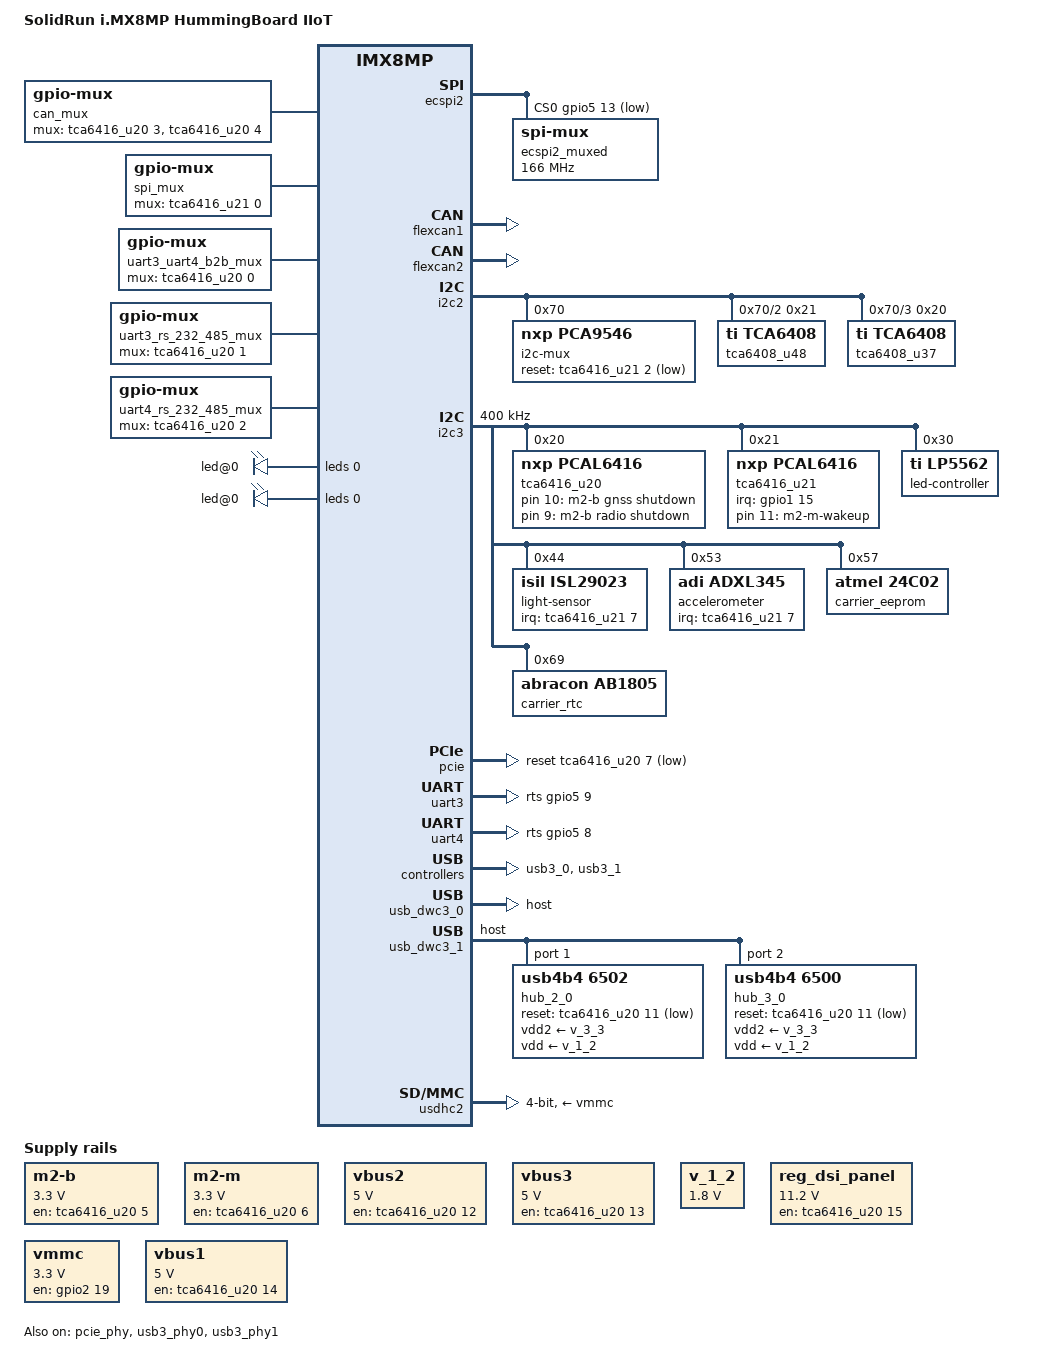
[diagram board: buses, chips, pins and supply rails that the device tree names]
// SPDX-License-Identifier: (GPL-2.0+ OR MIT)
/*
 * Copyright 2024 Yazan Shhady <yazan.shhady@solid-run.com>
 * Copyright 2025 Josua Mayer <josua@solid-run.com>
 */

/dts-v1/;

#include <dt-bindings/leds/common.h>
#include <dt-bindings/phy/phy-imx8-pcie.h>

#include "imx8mp-sr-som.dtsi"

/ {
	compatible = "solidrun,imx8mp-hummingboard-iiot",
		     "solidrun,imx8mp-sr-som", "fsl,imx8mp";
	model = "SolidRun i.MX8MP HummingBoard IIoT";

	/* power for M.2 B-Key connector (J6) */
	regulator-m2-b {
		compatible = "regulator-fixed";
		regulator-name = "m2-b";
		gpios = <&tca6416_u20 5 GPIO_ACTIVE_HIGH>;
		regulator-always-on;
		regulator-max-microvolt = <3300000>;
		regulator-min-microvolt = <3300000>;
		enable-active-high;
	};

	/* power for M.2 M-Key connector (J4) */
	regulator-m2-m {
		compatible = "regulator-fixed";
		regulator-name = "m2-m";
		gpios = <&tca6416_u20 6 GPIO_ACTIVE_HIGH>;
		regulator-always-on;
		regulator-max-microvolt = <3300000>;
		regulator-min-microvolt = <3300000>;
		enable-active-high;
	};

	/* power for USB-A J27 behind USB Hub Port 3 */
	regulator-vbus-2 {
		compatible = "regulator-fixed";
		regulator-name = "vbus2";
		regulator-always-on;
		regulator-max-microvolt = <5000000>;
		regulator-min-microvolt = <5000000>;
		gpio = <&tca6416_u20 12 GPIO_ACTIVE_HIGH>;
		enable-active-high;
	};

	/* power for USB-A J27 behind USB Hub Port 4 */
	regulator-vbus-3 {
		compatible = "regulator-fixed";
		regulator-name = "vbus3";
		regulator-always-on;
		regulator-max-microvolt = <5000000>;
		regulator-min-microvolt = <5000000>;
		gpio = <&tca6416_u20 13 GPIO_ACTIVE_HIGH>;
		enable-active-high;
	};

	aliases {
		/* J10 */
		ethernet0 = &eqos;
		/* J11 */
		ethernet1 = &fec;
		gpio5 = &tca6408_u48;
		gpio6 = &tca6408_u37;
		gpio7 = &tca6416_u20;
		gpio8 = &tca6416_u21;
		i2c6 = &i2c_exp;
		i2c7 = &i2c_csi;
		i2c8 = &i2c_dsi;
		i2c9 = &i2c_lvds;
		rtc0 = &carrier_rtc;
		rtc1 = &snvs_rtc;
	};

	gpio-keys {
		compatible = "gpio-keys";

		wakeup-event {
			interrupts-extended = <&tca6416_u21 11 IRQ_TYPE_EDGE_FALLING>;
			label = "m2-m-wakeup";
			wakeup-source;
			linux,code = <KEY_WAKEUP>;
		};
	};

	can_mux: mux-controller-0 {
		compatible = "gpio-mux";
		/*
		 * Mux routes CAN bus signals between SoM connector pins,
		 * expansion connector (J22) and on-board transceivers using
		 * two GPIO:
		 * - IO3: 0 = on-board transceivers, 1 = expansion connector
		 * - IO4: 0 = J9-55/57/59/61, 1 = J7-12/16 & J9-54/56
		 */
		mux-gpios = <&tca6416_u20 3 GPIO_ACTIVE_HIGH>,
			    <&tca6416_u20 4 GPIO_ACTIVE_HIGH>;
		/* default J7-12/16 & J9-54/56 to on-board transceivers */
		idle-state = <2>;
		#mux-control-cells = <0>;
	};

	spi_mux: mux-controller-1 {
		compatible = "gpio-mux";
		/* default on-board */
		idle-state = <0>;
		/*
		 * Mux switches spi bus between on-board tpm
		 * and expansion connector (J22).
		 */
		mux-gpios = <&tca6416_u21 0 GPIO_ACTIVE_HIGH>;
		#mux-control-cells = <0>;
	};

	uart3_uart4_b2b_mux: mux-controller-2 {
		compatible = "gpio-mux";
		/* default on-board */
		idle-state = <0>;
		/*
		 * Mux switches both uart3 and uart4 tx/rx between expansion
		 * connector (J22) and on-board rs232/rs485 transceivers
		 * using one GPIO: 0 = on-board, 1 = connector.
		 */
		mux-gpios = <&tca6416_u20 0 GPIO_ACTIVE_HIGH>;
		#mux-control-cells = <0>;
	};

	uart3_rs_232_485_mux: mux-controller-3 {
		compatible = "gpio-mux";
		/* default rs232 */
		idle-state = <0>;
		/*
		 * Mux switches uart3 tx/rx between rs232 and rs485
		 * transceivers. using one GPIO: 0 = rs232, 1 = rs485.
		 */
		mux-gpios = <&tca6416_u20 1 GPIO_ACTIVE_HIGH>;
		#mux-control-cells = <0>;
	};

	uart4_rs_232_485_mux: mux-controller-4 {
		compatible = "gpio-mux";
		/* default rs232 */
		idle-state = <0>;
		/*
		 * Mux switches uart4 tx/rx between rs232 and rs485
		 * transceivers. using one GPIO: 0 = rs232, 1 = rs485.
		 */
		mux-gpios = <&tca6416_u20 2 GPIO_ACTIVE_HIGH>;
		#mux-control-cells = <0>;
	};

	v_1_2: regulator-1-2 {
		compatible = "regulator-fixed";
		regulator-name = "1v2";
		regulator-max-microvolt = <1800000>;
		regulator-min-microvolt = <1800000>;
	};

	reg_dsi_panel: regulator-dsi-panel {
		compatible = "regulator-fixed";
		regulator-name = "dsi-panel";
		gpios = <&tca6416_u20 15 GPIO_ACTIVE_HIGH>;
		regulator-max-microvolt = <11200000>;
		regulator-min-microvolt = <11200000>;
		enable-active-high;
	};

	vmmc: regulator-mmc {
		compatible = "regulator-fixed";
		regulator-name = "vmmc";
		pinctrl-0 = <&vmmc_pins>;
		pinctrl-names = "default";
		regulator-max-microvolt = <3300000>;
		regulator-min-microvolt = <3300000>;
		startup-delay-us = <250>;
		gpio = <&gpio2 19 GPIO_ACTIVE_HIGH>;
		enable-active-high;
	};

	/* power for USB-A J5003 */
	vbus1: regulator-vbus-1 {
		compatible = "regulator-fixed";
		regulator-name = "vbus1";
		regulator-max-microvolt = <5000000>;
		regulator-min-microvolt = <5000000>;
		gpio = <&tca6416_u20 14 GPIO_ACTIVE_HIGH>;
		enable-active-high;
	};

	rfkill-m2-b-gnss {
		compatible = "rfkill-gpio";
		/* rfkill-gpio inverts internally */
		shutdown-gpios = <&tca6416_u20 10 GPIO_ACTIVE_HIGH>;
		label = "m2-b gnss";
		radio-type = "gps";
	};

	rfkill-m2-b-wwan {
		compatible = "rfkill-gpio";
		/* rfkill-gpio inverts internally */
		shutdown-gpios = <&tca6416_u20 9 GPIO_ACTIVE_HIGH>;
		label = "m2-b radio";
		radio-type = "wwan";
	};
};

&ecspi2 {
	cs-gpios = <&gpio5 13 GPIO_ACTIVE_LOW>;
	num-cs = <1>;
	pinctrl-0 = <&ecspi2_pins>;
	pinctrl-names = "default";
	status = "okay";

	ecspi2_muxed: spi@0 {
		compatible = "spi-mux";
		reg = <0>;
		#address-cells = <1>;
		#size-cells = <0>;
		mux-controls = <&spi_mux>;
		/* mux bandwidth is 2GHz, soc max. spi clock is 166MHz */
		spi-max-frequency = <166000000>;

		tpm@0 {
			compatible = "infineon,slb9670", "tcg,tpm_tis-spi";
			reg = <0>;
			interrupts-extended = <&tca6416_u21 9 IRQ_TYPE_LEVEL_LOW>;
			reset-gpios = <&tca6416_u21 1 (GPIO_ACTIVE_LOW | GPIO_OPEN_DRAIN)>;
			spi-max-frequency = <43000000>;
		};
	};
};

&flexcan1 {
	pinctrl-0 = <&can1_pins>;
	pinctrl-names = "default";
	status = "okay";

	can-transceiver {
		max-bitrate = <8000000>;
	};
};

&flexcan2 {
	pinctrl-0 = <&can2_pins>;
	pinctrl-names = "default";
	status = "okay";

	can-transceiver {
		max-bitrate = <8000000>;
	};
};

&i2c2 {
	i2c-mux@70 {
		compatible = "nxp,pca9546";
		reg = <0x70>;
		#address-cells = <1>;
		#size-cells = <0>;
		/*
		 * This reset is open drain,
		 * but reset core does not support GPIO_OPEN_DRAIN flag.
		 */
		reset-gpios = <&tca6416_u21 2 GPIO_ACTIVE_LOW>;

		/* channel 0 routed to expansion connector (J22) */
		i2c_exp: i2c@0 {
			reg = <0>;
			#address-cells = <1>;
			#size-cells = <0>;
		};

		/* channel 1 routed to mipi-csi connector (J23) */
		i2c_csi: i2c@1 {
			reg = <1>;
			#address-cells = <1>;
			#size-cells = <0>;
		};

		/* channel 2 routed to mipi-dsi connector (J25) */
		i2c_dsi: i2c@2 {
			reg = <2>;
			#address-cells = <1>;
			#size-cells = <0>;

			tca6408_u48: gpio@21 {
				compatible = "ti,tca6408";
				reg = <0x21>;
				#gpio-cells = <2>;
				gpio-controller;
				gpio-line-names = "CAM_RST#", "DSI_RESET",
						  "DSI_STBYB", "DSI_PWM_BL",
						  "DSI_L/R", "DSI_U/D",
						  "DSI_CTP_/RST", "CAM_TRIG";
				/*
				 * reset shared between U37 and U48, to be
				 * supported once gpio-pca953x switches to
				 * reset framework.
				 *
				 * reset-gpios = <&tca6416_u21 4
				 *                (GPIO_ACTIVE_LOW|GPIO_PULL_UP|GPIO_OPEN_DRAIN)>;
				 */
			};

		};

		/* channel 2 routed to lvds connector (J24) */
		i2c_lvds: i2c@3 {
			reg = <3>;
			#address-cells = <1>;
			#size-cells = <0>;

			tca6408_u37: gpio@20 {
				compatible = "ti,tca6408";
				reg = <0x20>;
				#gpio-cells = <2>;
				gpio-controller;
				gpio-line-names = "SELB", "LVDS_RESET",
						  "LVDS_STBYB", "LVDS_PWM_BL",
						  "LVDS_L/R", "LVDS_U/D",
						  "LVDS_CTP_/RST", "";
				/*
				 * reset shared between U37 and U48, to be
				 * supported once gpio-pca953x switches to
				 * reset framework.
				 *
				 * reset-gpios = <&tca6416_u21 4
				 *                (GPIO_ACTIVE_LOW|GPIO_PULL_UP|GPIO_OPEN_DRAIN)>;
				 */
			};

		};
	};
};

&i2c3 {
	/* highest i2c clock supported by all peripherals is 400kHz */
	clock-frequency = <400000>;

	tca6416_u20: gpio@20 {
		reg = <0x20>;
		#gpio-cells = <2>;
		gpio-controller;
		gpio-line-names = "TCA_INT/EXT_UART", "TCA_UARTA_232/485",
				  "TCA_UARTB_232/485", "TCA_INT/EXT_CAN",
				  "TCA_NXP/REN", "TCA_M.2B_3V3_EN",
				  "TCA_M.2M_3V3_EN", "TCA_M.2M_RESET#",
				  "TCA_M.2B_RESET#", "TCA_M.2B_W_DIS#",
				  "TCA_M.2B_GPS_EN#", "TCA_USB-HUB_RST#",
				  "TCA_USB_HUB3_PWR_EN", "TCA_USB_HUB4_PWR_EN",
				  "TCA_USB1_PWR_EN", "TCA_VIDEO_PWR_EN";
		/*
		 * This is a TI TCAL6416 using same programming model as
		 * NXP PCAL6416, not to be confused with TI TCA6416.
		 */
		compatible = "nxp,pcal6416";

		m2-b-reset-hog {
			gpios = <8 GPIO_ACTIVE_LOW>;
			gpio-hog;
			line-name = "m2-b-reset";
			output-low;
		};
	};

	tca6416_u21: gpio@21 {
		reg = <0x21>;
		#interrupt-cells = <2>;
		interrupt-controller;
		#gpio-cells = <2>;
		gpio-controller;
		gpio-line-names = "TCA_SPI_TPM/EXT", "TCA_TPM_RST#",
				  "TCA_I2C_RST", "TCA_RS232_SHTD#",
				  "TCA_LCD_I2C_RST", "TCA_DIG_OUT1",
				  "TCA_bDIG_IN1", "TCA_SENS_INT",
				  "TCA_ALERT#", "TCA_TPM_PIRQ#",
				  "TCA_RTC_INT", "TCA_M.2M_WAKW_ON_LAN",
				  "TCA_M.2M_CLKREQ#", "TCA_LVDS_INT#",
				  "", "TCA_POE_AT";
		interrupts-extended = <&gpio1 15 IRQ_TYPE_EDGE_FALLING>;
		pinctrl-0 = <&tca6416_u21_int_pins>;
		pinctrl-names = "default";
		/*
		 * This is a TI TCAL6416 using same programming model as
		 * NXP PCAL6416, not to be confused with TI TCA6416.
		 */
		compatible = "nxp,pcal6416";

		lcd-i2c-reset-hog {
			gpios = <4 (GPIO_ACTIVE_LOW|GPIO_PULL_UP|GPIO_OPEN_DRAIN)>;
			line-name = "lcd-i2c-reset";
			output-low;
			/*
			 * reset shared between U37 and U48, to be
			 * supported once gpio-pca953x switches to
			 * reset framework.
			 */
			gpio-hog;
		};

		m2-m-clkreq-hog {
			gpios = <12 GPIO_ACTIVE_LOW>;
			gpio-hog;
			input;
			line-name = "m2-m-clkreq";
		};

		rs232_shutdown: rs232-shutdown-hog {
			gpios = <3 GPIO_ACTIVE_LOW>;
			gpio-hog;
			line-name = "rs232-shutdown";
			output-low;
		};
	};

	led-controller@30 {
		compatible = "ti,lp5562";
		reg = <0x30>;
		#address-cells = <1>;
		#size-cells = <0>;
		/* use internal clock, could use external generated by rtc */
		clock-mode = /bits/ 8 <1>;

		multi-led@0 {
			reg = <0x0>;
			#address-cells = <1>;
			#size-cells = <0>;
			color = <LED_COLOR_ID_RGB>;
			label = "D7";

			led@0 {
				reg = <0x0>;
				color = <LED_COLOR_ID_RED>;
				led-cur = /bits/ 8 <0x32>;
				max-cur = /bits/ 8 <0x64>;
			};

			led@1 {
				reg = <0x1>;
				color = <LED_COLOR_ID_GREEN>;
				led-cur = /bits/ 8 <0x19>;
				max-cur = /bits/ 8 <0x32>;
			};

			led@2 {
				reg = <0x2>;
				color = <LED_COLOR_ID_BLUE>;
				led-cur = /bits/ 8 <0x19>;
				max-cur = /bits/ 8 <0x32>;
			};
		};

		led@3 {
			reg = <0x3>;
			chan-name = "D8";
			color = <LED_COLOR_ID_GREEN>;
			label = "D8";
			led-cur = /bits/ 8 <0x19>;
			max-cur = /bits/ 8 <0x64>;
		};
	};

	light-sensor@44 {
		compatible = "isil,isl29023";
		reg = <0x44>;
		/* IRQ shared between accelerometer, light-sensor and Tamper input (J5007) */
		interrupts-extended = <&tca6416_u21 7 IRQ_TYPE_EDGE_FALLING>;
	};

	accelerometer@53 {
		compatible = "adi,adxl345";
		reg = <0x53>;
		/* IRQ shared between accelerometer, light-sensor and Tamper input (J5007) */
		interrupts-extended = <&tca6416_u21 7 IRQ_TYPE_EDGE_FALLING>;
		interrupt-names = "INT1";
	};

	carrier_eeprom: eeprom@57 {
		compatible = "atmel,24c02";
		reg = <0x57>;
		pagesize = <8>;
	};

	carrier_rtc: rtc@69 {
		compatible = "abracon,ab1805";
		reg = <0x69>;
		abracon,tc-diode = "schottky";
		abracon,tc-resistor = <3>;
		/*
		 * AM1805 RTC used on this board has only nTIRQ pins wired,
		 * which is for countdown timer irqs only.
		 * Driver does not support this, disable for now.
		 *
		 * interrupts-extended = <&tca6416_u21 10 IRQ_TYPE_EDGE_FALLING>;
		 */
	};
};

&iomuxc {
	can1_pins: pinctrl-can1-grp {
		fsl,pins = <
			MX8MP_IOMUXC_SPDIF_RX__CAN1_RX			0x154
			MX8MP_IOMUXC_SPDIF_TX__CAN1_TX			0x154
		>;
	};

	can2_pins: pinctrl-can2-grp {
		fsl,pins = <
			MX8MP_IOMUXC_SAI5_MCLK__CAN2_RX			0x154
			MX8MP_IOMUXC_SAI5_RXD3__CAN2_TX			0x154
		>;
	};

	ecspi2_pins: pinctrl-ecspi2-grp {
		fsl,pins = <
			MX8MP_IOMUXC_ECSPI2_SCLK__ECSPI2_SCLK		0x140
			MX8MP_IOMUXC_ECSPI2_MOSI__ECSPI2_MOSI		0x140
			MX8MP_IOMUXC_ECSPI2_MISO__ECSPI2_MISO		0x140
			MX8MP_IOMUXC_ECSPI2_SS0__GPIO5_IO13		0x140
		>;
	};

	tca6416_u21_int_pins: pinctrl-tca6416-u21-int-grp {
		fsl,pins = <
			MX8MP_IOMUXC_GPIO1_IO15__GPIO1_IO15		0x0
		>;
	};

	/* UARTA */
	uart3_pins: pinctrl-uart3-grp {
		fsl,pins = <
			MX8MP_IOMUXC_ECSPI1_SCLK__UART3_DCE_RX		0x140
			MX8MP_IOMUXC_ECSPI1_MOSI__UART3_DCE_TX		0x140
			MX8MP_IOMUXC_ECSPI1_SS0__GPIO5_IO09		0x140
		>;
	};

	/* UARTB */
	uart4_pins: pinctrl-uart4-grp {
		fsl,pins = <
			MX8MP_IOMUXC_UART4_RXD__UART4_DCE_RX		0x140
			MX8MP_IOMUXC_UART4_TXD__UART4_DCE_TX		0x140
			MX8MP_IOMUXC_ECSPI1_MISO__GPIO5_IO08		0x140
		>;
	};

	usdhc2_100mhz_pins: pinctrl-usdhc2-100mhz-grp {
		fsl,pins = <
			MX8MP_IOMUXC_SD2_CLK__USDHC2_CLK		0x194
			MX8MP_IOMUXC_SD2_CMD__USDHC2_CMD		0x1d4
			MX8MP_IOMUXC_SD2_DATA0__USDHC2_DATA0		0x1d4
			MX8MP_IOMUXC_SD2_DATA1__USDHC2_DATA1		0x1d4
			MX8MP_IOMUXC_SD2_DATA2__USDHC2_DATA2		0x1d4
			MX8MP_IOMUXC_SD2_DATA3__USDHC2_DATA3		0x1d4
			MX8MP_IOMUXC_GPIO1_IO04__USDHC2_VSELECT		0x140
			MX8MP_IOMUXC_SD2_CD_B__USDHC2_CD_B		0x140
		>;
	};

	usdhc2_200mhz_pins: pinctrl-usdhc2-200mhz-grp {
		fsl,pins = <
			MX8MP_IOMUXC_SD2_CLK__USDHC2_CLK		0x196
			MX8MP_IOMUXC_SD2_CMD__USDHC2_CMD		0x1d6
			MX8MP_IOMUXC_SD2_DATA0__USDHC2_DATA0		0x1d6
			MX8MP_IOMUXC_SD2_DATA1__USDHC2_DATA1		0x1d6
			MX8MP_IOMUXC_SD2_DATA2__USDHC2_DATA2		0x1d6
			MX8MP_IOMUXC_SD2_DATA3__USDHC2_DATA3		0x1d6
			MX8MP_IOMUXC_GPIO1_IO04__USDHC2_VSELECT		0x140
			MX8MP_IOMUXC_SD2_CD_B__USDHC2_CD_B		0x140
		>;
	};

	usdhc2_pins: pinctrl-usdhc2-grp {
		fsl,pins = <
			MX8MP_IOMUXC_SD2_CLK__USDHC2_CLK		0x190
			MX8MP_IOMUXC_SD2_CMD__USDHC2_CMD		0x1d0
			MX8MP_IOMUXC_SD2_DATA0__USDHC2_DATA0		0x1d0
			MX8MP_IOMUXC_SD2_DATA1__USDHC2_DATA1		0x1d0
			MX8MP_IOMUXC_SD2_DATA2__USDHC2_DATA2		0x1d0
			MX8MP_IOMUXC_SD2_DATA3__USDHC2_DATA3		0x1d0
			MX8MP_IOMUXC_GPIO1_IO04__USDHC2_VSELECT		0x140
			MX8MP_IOMUXC_SD2_CD_B__USDHC2_CD_B		0x140
		>;
	};

	vmmc_pins: pinctrl-vmmc-grp {
		fsl,pins = <
			MX8MP_IOMUXC_SD2_RESET_B__GPIO2_IO19		0x0
		>;
	};
};

&pcie {
	reset-gpio = <&tca6416_u20 7 GPIO_ACTIVE_LOW>;
	status = "okay";
};

/* M.2 M-Key (J4) */
&pcie_phy {
	clocks = <&hsio_blk_ctrl>;
	clock-names = "ref";
	fsl,clkreq-unsupported;
	fsl,refclk-pad-mode = <IMX8_PCIE_REFCLK_PAD_OUTPUT>;
	status = "okay";
};

&phy0 {
	leds {
		#address-cells = <1>;
		#size-cells = <0>;

		/* ADIN1300 LED_0 pin */
		led@0 {
			reg = <0>;
			color = <LED_COLOR_ID_GREEN>;
			default-state = "keep";
			function = LED_FUNCTION_LAN;
		};
	};
};

&phy1 {
	leds {
		#address-cells = <1>;
		#size-cells = <0>;

		/* ADIN1300 LED_0 pin */
		led@0 {
			reg = <0>;
			color = <LED_COLOR_ID_GREEN>;
			default-state = "keep";
			function = LED_FUNCTION_LAN;
		};
	};
};

&uart3 {
	assigned-clock-parents = <&clk IMX8MP_SYS_PLL1_80M>;
	/* select 80MHz parent clock to support maximum baudrate 4Mbps */
	assigned-clocks = <&clk IMX8MP_CLK_UART3>;
	pinctrl-0 = <&uart3_pins>;
	pinctrl-names = "default";
	rts-gpios = <&gpio5 9 GPIO_ACTIVE_HIGH>;
	status = "okay";
};

&uart4 {
	assigned-clock-parents = <&clk IMX8MP_SYS_PLL1_80M>;
	/* select 80MHz parent clock to support maximum baudrate 4Mbps */
	assigned-clocks = <&clk IMX8MP_CLK_UART4>;
	pinctrl-0 = <&uart4_pins>;
	pinctrl-names = "default";
	rts-gpios = <&gpio5 8 GPIO_ACTIVE_HIGH>;
	status = "okay";
};

&usb3_0 {
	status = "okay";
};

&usb3_1 {
	status = "okay";
};

&usb3_phy0 {
	vbus-supply = <&vbus1>;
	fsl,phy-tx-preemp-amp-tune-microamp = <1200>;
	status = "okay";
};

&usb3_phy1 {
	status = "okay";
};

&usb_dwc3_0 {
	dr_mode = "host";
};

&usb_dwc3_1 {
	#address-cells = <1>;
	#size-cells = <0>;
	dr_mode = "host";

	hub_2_0: hub@1 {
		compatible = "usb4b4,6502", "usb4b4,6506";
		reg = <1>;
		peer-hub = <&hub_3_0>;
		reset-gpios = <&tca6416_u20 11 GPIO_ACTIVE_LOW>;
		vdd2-supply = <&v_3_3>;
		vdd-supply = <&v_1_2>;
	};

	hub_3_0: hub@2 {
		compatible = "usb4b4,6500", "usb4b4,6504";
		reg = <2>;
		peer-hub = <&hub_2_0>;
		reset-gpios = <&tca6416_u20 11 GPIO_ACTIVE_LOW>;
		vdd2-supply = <&v_3_3>;
		vdd-supply = <&v_1_2>;
	};
};

&usdhc2 {
	bus-width = <4>;
	cap-power-off-card;
	full-pwr-cycle;
	pinctrl-0 = <&usdhc2_pins>;
	pinctrl-1 = <&usdhc2_100mhz_pins>;
	pinctrl-2 = <&usdhc2_200mhz_pins>;
	pinctrl-names = "default", "state_100mhz", "state_200mhz";
	vmmc-supply = <&vmmc>;
	status = "okay";
};
